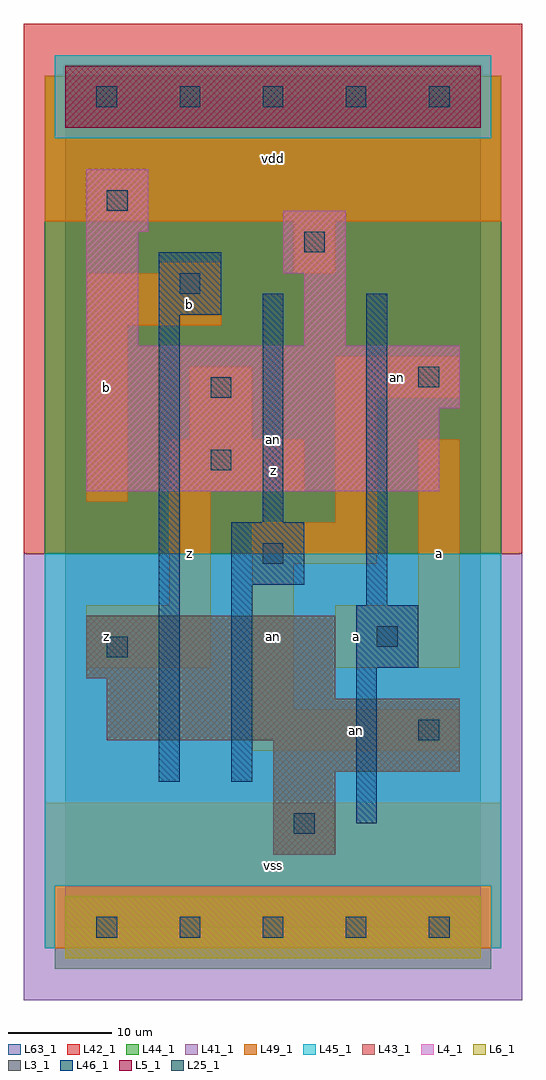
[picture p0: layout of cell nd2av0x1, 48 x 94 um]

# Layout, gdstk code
import gdstk
lib = gdstk.Library(unit=1e-6, precision=1e-09)
def R(c, l, rs):  # rectangles x0, y0, x1, y1
    for r in rs: c.add(gdstk.rectangle(r[:2], r[2:], *l))
def A(c, l, x, y, w, h, nx, ny, dx, dy):  # array of equal rectangles
    R(c, l, [(x+i*dx, y+j*dy, x+i*dx+w, y+j*dy+h) for i in range(nx) for j in range(ny)])
L3_1 = (3, 1)
L4_1 = (4, 1)
L5_1 = (5, 1)
L6_1 = (6, 1)
L25_1 = (25, 1)
L41_1 = (41, 1)
L42_1 = (42, 1)
L43_1 = (43, 1)
L44_1 = (44, 1)
L45_1 = (45, 1)
L46_1 = (46, 1)
L49_1 = (49, 1)
L63_1 = (63, 1)

nd2av0x1 = lib.new_cell('nd2av0x1')
R(nd2av0x1, L3_1, [(20,7,26,15), (20,15,38,18), (4,18,38,22), (4,22,26,24), (2,24,26,30)])
R(nd2av0x1, L4_1, [(2,42,36,50), (2,50,38,56), (2,56,7,67), (23,56,27,63), (21,63,27,69), (2,67,8,73)])
R(nd2av0x1, L5_1, [(0,77,40,83)])
R(nd2av0x1, L6_1, [(0,-3,40,3), (0,-3,40,3)])
A(nd2av0x1, L25_1, 3, -1, 2, 2, 5, 2, 8, 80)
R(nd2av0x1, L25_1, [(22,9,24,11), (34,18,36,20), (4,26,6,28), (30,27,32,29), (19,35,21,37), (14,44,16,46), (14,51,16,53), (34,52,36,54), (11,61,13,63), (23,65,25,67), (4,69,6,71)])
R(nd2av0x1, L41_1, [(-4,-7,44,36)])
R(nd2av0x1, L42_1, [(-4,36,44,87)])
R(nd2av0x1, L43_1, [(0,-3,40,3), (20,7,26,15), (20,15,38,18), (4,18,38,22), (4,22,26,24), (2,24,26,30), (2,42,36,50), (2,50,38,56), (2,56,7,67), (23,56,27,63), (21,63,27,69), (2,67,8,73), (0,77,40,83)])
R(nd2av0x1, L44_1, [(-1,-4,41,4), (-2,36,42,76), (-2,76,-1,82), (41,76,42,82)])
R(nd2av0x1, L45_1, [(-2,-2,-1,4), (41,-2,42,4), (-2,4,42,36), (-1,76,41,84)])
R(nd2av0x1, L46_1, [(28,10,30,25), (9,14,11,59), (16,14,18,33), (28,25,34,31), (29,31,31,61), (16,33,23,39), (19,39,21,61), (9,59,15,65)])
R(nd2av0x1, L49_1, [(-2,-2,42,12), (18,17,38,21), (18,21,22,35), (2,25,14,31), (26,25,38,31), (10,31,14,42), (34,31,38,47), (18,35,30,39), (26,39,30,51), (2,41,6,58), (10,42,23,47), (12,47,18,54), (26,51,38,55), (2,58,15,63), (9,63,15,64), (22,63,26,68), (-2,68,42,82)])
R(nd2av0x1, L63_1, [(0,0,40,80)])
nd2av0x1.add(gdstk.Label('an', (20,47), layer=46, texttype=1))
nd2av0x1.add(gdstk.Label('z', (4,28), layer=49, texttype=1))
nd2av0x1.add(gdstk.Label('b', (4,52), layer=49, texttype=1))
nd2av0x1.add(gdstk.Label('z', (12,36), layer=49, texttype=1))
nd2av0x1.add(gdstk.Label('b', (12,60), layer=49, texttype=1))
nd2av0x1.add(gdstk.Label('vss', (20,6), layer=49, texttype=1))
nd2av0x1.add(gdstk.Label('an', (20,28), layer=49, texttype=1))
nd2av0x1.add(gdstk.Label('a', (28,28), layer=49, texttype=1))
nd2av0x1.add(gdstk.Label('z', (20,44), layer=49, texttype=1))
nd2av0x1.add(gdstk.Label('vdd', (20,74), layer=49, texttype=1))
nd2av0x1.add(gdstk.Label('an', (28,19), layer=49, texttype=1))
nd2av0x1.add(gdstk.Label('a', (36,36), layer=49, texttype=1))
nd2av0x1.add(gdstk.Label('an', (32,53), layer=49, texttype=1))

lib.write_gds('nd2av0x1.gds')
